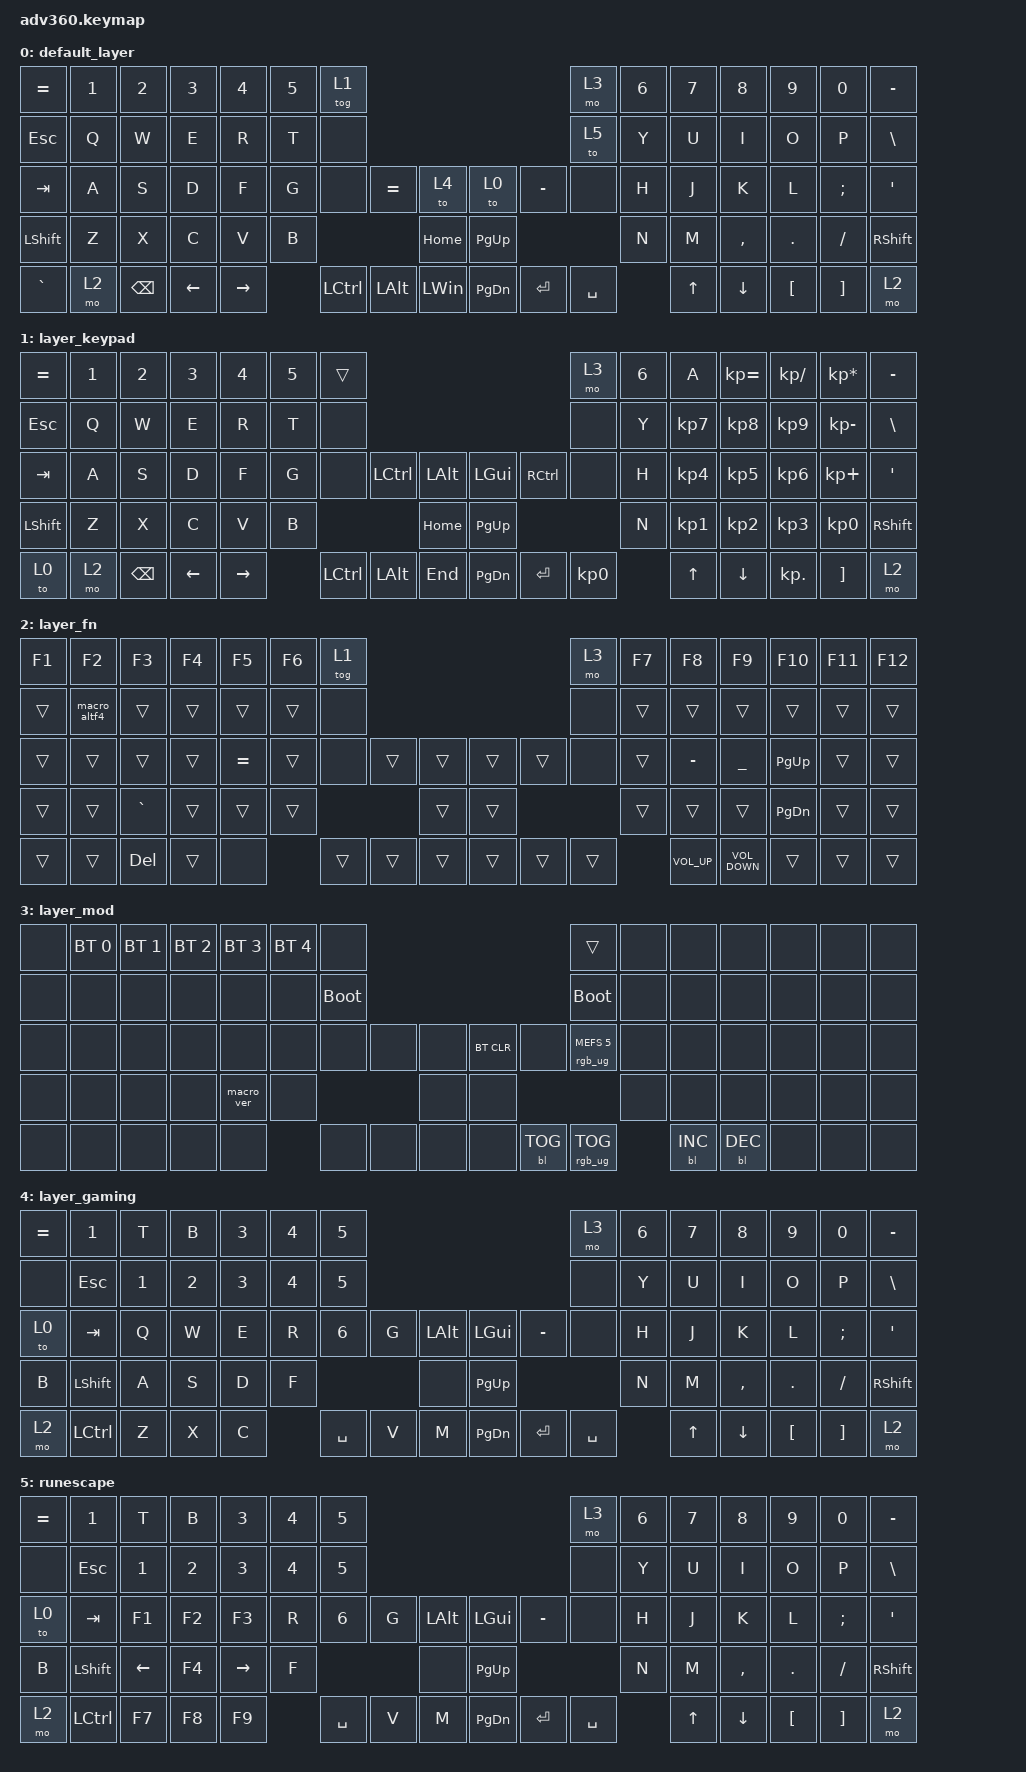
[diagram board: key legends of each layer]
/*
 * Copyright (c) 2020 The ZMK Contributors
 *
 * SPDX-License-Identifier: MIT
 */
/* THIS FILE WAS GENERATED!
 *
 * This file was generated automatically. You may or may not want to
 * edit it directly.
 */

#include <behaviors.dtsi>
#include <dt-bindings/zmk/backlight.h>
#include <dt-bindings/zmk/bt.h>
#include <dt-bindings/zmk/keys.h>
#include <dt-bindings/zmk/rgb.h>

/ {
    behaviors {
        #include "macros.dtsi"
    #include "version.dtsi"

        hm: homerow_mods {
            compatible = "zmk,behavior-hold-tap";
            label = "HOMEROW_MODS";
            #binding-cells = <2>;
            tapping-term-ms = <200>;
            quick_tap_ms = <175>;
            flavor = "tap-preferred";
            bindings = <&kp>, <&kp>;
        };
    };

    keymap {
        compatible = "zmk,keymap";

        default_layer {
            bindings = <
&kp EQUAL   &kp N1  &kp N2         &kp N3    &kp N4     &kp N5  &tog 1                                                           &mo 3      &kp N6  &kp N7  &kp N8     &kp N9    &kp N0    &kp MINUS
&kp ESCAPE  &kp Q   &kp W          &kp E     &kp R      &kp T   &none                                                            &to 5      &kp Y   &kp U   &kp I      &kp O     &kp P     &kp BSLH
&kp TAB     &kp A   &kp S          &kp D     &kp F      &kp G   &none      &kp EQUAL     &to 4             &to 0      &kp MINUS  &none      &kp H   &kp J   &kp K      &kp L     &kp SEMI  &kp SQT
&kp LSHFT   &kp Z   &kp X          &kp C     &kp V      &kp B                            &kp HOME          &kp PG_UP                        &kp N   &kp M   &kp COMMA  &kp DOT   &kp FSLH  &kp RSHFT
&kp GRAVE   &mo 2   &kp BACKSPACE  &kp LEFT  &kp RIGHT          &kp LCTRL  &kp LEFT_ALT  &kp LEFT_WIN      &kp PG_DN  &kp ENTER  &kp SPACE          &kp UP  &kp DOWN   &kp LBKT  &kp RBKT  &mo 2
            >;
        };

        layer_keypad {
            bindings = <
&kp EQUAL   &kp N1  &kp N2         &kp N3    &kp N4     &kp N5  &trans                                                              &mo 3      &kp N6  &kp A         &kp KP_EQUAL  &kp KP_DIVIDE  &kp KP_MULTIPLY  &kp MINUS
&kp ESCAPE  &kp Q   &kp W          &kp E     &kp R      &kp T   &none                                                               &none      &kp Y   &kp KP_N7     &kp KP_N8     &kp KP_N9      &kp KP_MINUS     &kp BSLH
&kp TAB     &kp A   &kp S          &kp D     &kp F      &kp G   &none             &kp LCTRL     &kp LALT      &kp LGUI   &kp RCTRL  &none      &kp H   &kp KP_N4     &kp KP_N5     &kp KP_N6      &kp KP_PLUS      &kp SQT
&kp LSHFT   &kp Z   &kp X          &kp C     &kp V      &kp B                                   &kp HOME      &kp PG_UP                        &kp N   &kp KP_N1     &kp KP_N2     &kp KP_N3      &kp KP_NUMBER_0  &kp RSHFT
&to 0       &mo 2   &kp BACKSPACE  &kp LEFT  &kp RIGHT          &kp LEFT_CONTROL  &kp LEFT_ALT  &kp END       &kp PG_DN  &kp ENTER  &kp KP_N0          &kp UP_ARROW  &kp DOWN      &kp KP_DOT     &kp RBKT         &mo 2
            >;
        };

        layer_fn {
            bindings = <
&kp F1  &kp F2        &kp F3      &kp F4  &kp F5     &kp F6  &tog 1                                      &mo 3   &kp F7  &kp F8        &kp F9             &kp F10        &kp F11  &kp F12
&trans  &macro_altf4  &trans      &trans  &trans     &trans  &none                                       &none   &trans  &trans        &trans             &trans         &trans   &trans
&trans  &trans        &trans      &trans  &kp EQUAL  &trans  &none   &trans  &trans      &trans  &trans  &none   &trans  &kp MINUS     &kp UNDERSCORE     &kp PAGE_UP    &trans   &trans
&trans  &trans        &kp GRAVE   &trans  &trans     &trans                  &trans      &trans                  &trans  &trans        &trans             &kp PAGE_DOWN  &trans   &trans
&trans  &trans        &kp DELETE  &trans  &none              &trans  &trans  &trans      &trans  &trans  &trans          &kp C_VOL_UP  &kp C_VOLUME_DOWN  &trans         &trans   &trans
            >;
        };

        layer_mod {
            bindings = <
&none  &bt BT_SEL 0  &bt BT_SEL 1  &bt BT_SEL 2  &bt BT_SEL 3  &bt BT_SEL 4  &none                                                  &trans                  &none  &none       &none       &none  &none  &none
&none  &none         &none         &none         &none         &none         &bootloader                                            &bootloader             &none  &none       &none       &none  &none  &none
&none  &none         &none         &none         &none         &none         &none        &none  &none      &bt BT_CLR  &none       &rgb_ug RGB_MEFS_CMD 5  &none  &none       &none       &none  &none  &none
&none  &none         &none         &none         &macro_ver    &none                             &none      &none                                           &none  &none       &none       &none  &none  &none
&none  &none         &none         &none         &none                       &none        &none  &none      &none       &bl BL_TOG  &rgb_ug RGB_TOG                &bl BL_INC  &bl BL_DEC  &none  &none  &none
            >;
        };

        layer_gaming {
            bindings = <
&kp EQUAL  &kp N1            &kp T         &kp B         &kp N3        &kp N4        &kp N5                                                   &mo 3      &kp N6  &kp N7  &kp N8     &kp N9    &kp N0    &kp MINUS
&none      &kp ESC           &kp NUMBER_1  &kp NUMBER_2  &kp NUMBER_3  &kp NUMBER_4  &kp NUMBER_5                                             &none      &kp Y   &kp U   &kp I      &kp O     &kp P     &kp BSLH
&to 0      &kp TAB           &kp Q         &kp W         &kp E         &kp R         &kp N6        &kp G  &kp LALT      &kp LGUI   &kp MINUS  &none      &kp H   &kp J   &kp K      &kp L     &kp SEMI  &kp SQT
&kp B      &kp LEFT_SHIFT    &kp A         &kp S         &kp D         &kp F                              &none         &kp PG_UP                        &kp N   &kp M   &kp COMMA  &kp DOT   &kp FSLH  &kp RSHFT
&mo 2      &kp LEFT_CONTROL  &kp Z         &kp X         &kp C                       &kp SPACE     &kp V  &kp M         &kp PG_DN  &kp ENTER  &kp SPACE          &kp UP  &kp DOWN   &kp LBKT  &kp RBKT  &mo 2
            >;
        };

        runescape {
            bindings = <
&kp EQUAL  &kp N1            &kp T           &kp B         &kp N3        &kp N4        &kp N5                                                   &mo 3      &kp N6  &kp N7  &kp N8     &kp N9    &kp N0    &kp MINUS
&none      &kp ESC           &kp NUMBER_1    &kp NUMBER_2  &kp NUMBER_3  &kp NUMBER_4  &kp NUMBER_5                                             &none      &kp Y   &kp U   &kp I      &kp O     &kp P     &kp BSLH
&to 0      &kp TAB           &kp F1          &kp F2        &kp F3        &kp R         &kp N6        &kp G  &kp LALT      &kp LGUI   &kp MINUS  &none      &kp H   &kp J   &kp K      &kp L     &kp SEMI  &kp SQT
&kp B      &kp LEFT_SHIFT    &kp LEFT_ARROW  &kp F4        &kp RIGHT     &kp F                              &none         &kp PG_UP                        &kp N   &kp M   &kp COMMA  &kp DOT   &kp FSLH  &kp RSHFT
&mo 2      &kp LEFT_CONTROL  &kp F7          &kp F8        &kp F9                      &kp SPACE     &kp V  &kp M         &kp PG_DN  &kp ENTER  &kp SPACE          &kp UP  &kp DOWN   &kp LBKT  &kp RBKT  &mo 2
            >;
        };
    };
};
